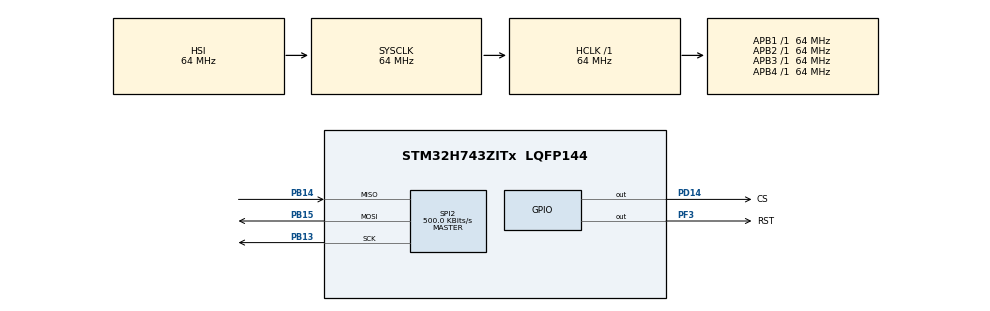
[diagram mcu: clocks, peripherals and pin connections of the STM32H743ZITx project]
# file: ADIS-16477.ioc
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Mcu.Family=STM32H7
Mcu.Name=STM32H743ZITx
Mcu.Package=LQFP144
NVIC.PriorityGroup=NVIC_PRIORITYGROUP_4
PA13\ (JTMS/SWDIO).Mode=Serial_Wire
PA13\ (JTMS/SWDIO).Signal=DEBUG_JTMS-SWDIO
PA14\ (JTCK/SWCLK).Mode=Serial_Wire
PA14\ (JTCK/SWCLK).Signal=DEBUG_JTCK-SWCLK
PB13.Mode=Full_Duplex_Master
PB13.Signal=SPI2_SCK
PB14.Mode=Full_Duplex_Master
PB14.Signal=SPI2_MISO
PB15.Mode=Full_Duplex_Master
PB15.Signal=SPI2_MOSI
PD14.GPIO_Label=CS
PD14.Signal=GPIO_Output
PF3.GPIO_Label=RST
PF3.Signal=GPIO_Output
ProjectManager.HeapSize=0x200
ProjectManager.StackSize=0x400
ProjectManager.TargetToolchain=STM32CubeIDE
RCC.ADCFreq_Value=129000000
RCC.APB1Freq_Value=64000000
RCC.APB2Freq_Value=64000000
RCC.APB3Freq_Value=64000000
RCC.APB4Freq_Value=64000000
RCC.CortexFreq_Value=64000000
RCC.HCLKFreq_Value=64000000
RCC.SPI123CLockSelection=RCC_SPI123CLKSOURCE_CLKP
RCC.SYSCLKFreq_VALUE=64000000
RCC.USBFreq_Value=129000000
SPI2.BaudRatePrescaler=SPI_BAUDRATEPRESCALER_128
SPI2.CLKPhase=SPI_PHASE_2EDGE
SPI2.CLKPolarity=SPI_POLARITY_HIGH
SPI2.CalculateBaudRate=500.0 KBits/s
SPI2.DataSize=SPI_DATASIZE_16BIT
SPI2.Direction=SPI_DIRECTION_2LINES
SPI2.Mode=SPI_MODE_MASTER
SPI2.VirtualType=VM_MASTER
board=custom

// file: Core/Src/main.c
/* USER CODE BEGIN Header */
/**
  ******************************************************************************
  * @file           : main.c
  * @brief          : Main program body
  ******************************************************************************
  * @attention
  *
  * Copyright (c) 2023 STMicroelectronics.
  * All rights reserved.
  *
  * This software is licensed under terms that can be found in the LICENSE file
  * in the root directory of this software component.
  * If no LICENSE file comes with this software, it is provided AS-IS.
  *
  ******************************************************************************
  */
/* USER CODE END Header */
#include "main.h"
#include "spi.h"
#include "gpio.h"

/* USER CODE BEGIN Includes */
#include "adis16477.h"

/* USER CODE END Includes */

void SystemClock_Config(void);
void PeriphCommonClock_Config(void);
/* USER CODE BEGIN PFP */

int8_t ADIS_read 		(uint16_t reg_addr, uint16_t *read_data, uint16_t len);
int8_t ADIS_burst_read	(uint16_t reg_addr, uint16_t *read_data, uint16_t len);
int8_t ADIS_write 		(uint16_t reg_addr, const uint16_t *read_data, uint16_t len);
void   ADIS_Delay		(uint32_t period);

/* USER CODE END PFP */

/* USER CODE BEGIN 0 */
float X_GYRO;
float Y_GYRO;
float Z_GYRO;
float X_ACCEL;
float Y_ACCEL;
float Z_ACCEL;
float ADIS_TEMP;
float start_time, end_time, execution_time, freq;
/* USER CODE END 0 */

int main(void)
{

  /* MCU Configuration--------------------------------------------------------*/

  /* Reset of all peripherals, Initializes the Flash interface and the Systick. */
  HAL_Init();

  /* Configure the system clock */
  SystemClock_Config();

/* Configure the peripherals common clocks */
  PeriphCommonClock_Config();

  /* Initialize all configured peripherals */
  MX_GPIO_Init();
  MX_SPI2_Init();
  /* USER CODE BEGIN 2 */

  // ADIS-16477
  struct ADIS ADIS_dev;

  /* Bus configuration : SPI */

  ADIS_dev.read = 		ADIS_read;
  ADIS_dev.burst_read = ADIS_burst_read;
  ADIS_dev.write = 		ADIS_write;
  ADIS_dev.delay = 		ADIS_Delay;

  // Hard reset ADIS
  // Change the values in header file according to your setup
  HAL_GPIO_WritePin(HARD_RST, HARD_RST_PIN, 0);
  HAL_Delay(1);
  HAL_GPIO_WritePin(HARD_RST, HARD_RST_PIN, 1);

  ADIS_16477_Init(&ADIS_dev);
  /* USER CODE END 2 */

  /* Infinite loop */
  /* USER CODE BEGIN WHILE */
  while (1)
  {

	  start_time = HAL_GetTick();

	  Burst_Read_16(&ADIS_dev);
	  X_GYRO = Scale_gyro (ADIS_dev.gyro_x);
	  Y_GYRO = Scale_gyro (ADIS_dev.gyro_y);
	  Z_GYRO = Scale_gyro (ADIS_dev.gyro_z);
	  X_ACCEL = Scale_accel (ADIS_dev.accel_x);
      Y_ACCEL = Scale_accel (ADIS_dev.accel_y);
      Z_ACCEL = Scale_accel (ADIS_dev.accel_z);
      ADIS_TEMP = Scale_temp (ADIS_dev.temp);

	  end_time = HAL_GetTick();
	  execution_time = end_time - start_time;
	  execution_time = execution_time / 1000;
	  freq = 1 / execution_time;

    /* USER CODE END WHILE */

  }
}

void SystemClock_Config(void)
{
  RCC_OscInitTypeDef RCC_OscInitStruct = {0};
  RCC_ClkInitTypeDef RCC_ClkInitStruct = {0};

  /** Supply configuration update enable
  */
  HAL_PWREx_ConfigSupply(PWR_LDO_SUPPLY);

  /** Configure the main internal regulator output voltage
  */
  __HAL_PWR_VOLTAGESCALING_CONFIG(PWR_REGULATOR_VOLTAGE_SCALE3);

  while(!__HAL_PWR_GET_FLAG(PWR_FLAG_VOSRDY)) {}

  /** Initializes the RCC Oscillators according to the specified parameters
  * in the RCC_OscInitTypeDef structure.
  */
  RCC_OscInitStruct.OscillatorType = RCC_OSCILLATORTYPE_HSI;
  RCC_OscInitStruct.HSIState = RCC_HSI_DIV1;
  RCC_OscInitStruct.HSICalibrationValue = RCC_HSICALIBRATION_DEFAULT;
  RCC_OscInitStruct.PLL.PLLState = RCC_PLL_NONE;
  if (HAL_RCC_OscConfig(&RCC_OscInitStruct) != HAL_OK)
  {
    Error_Handler();
  }

  /** Initializes the CPU, AHB and APB buses clocks
  */
  RCC_ClkInitStruct.ClockType = RCC_CLOCKTYPE_HCLK|RCC_CLOCKTYPE_SYSCLK
                              |RCC_CLOCKTYPE_PCLK1|RCC_CLOCKTYPE_PCLK2
                              |RCC_CLOCKTYPE_D3PCLK1|RCC_CLOCKTYPE_D1PCLK1;
  RCC_ClkInitStruct.SYSCLKSource = RCC_SYSCLKSOURCE_HSI;
  RCC_ClkInitStruct.SYSCLKDivider = RCC_SYSCLK_DIV1;
  RCC_ClkInitStruct.AHBCLKDivider = RCC_HCLK_DIV1;
  RCC_ClkInitStruct.APB3CLKDivider = RCC_APB3_DIV1;
  RCC_ClkInitStruct.APB1CLKDivider = RCC_APB1_DIV1;
  RCC_ClkInitStruct.APB2CLKDivider = RCC_APB2_DIV1;
  RCC_ClkInitStruct.APB4CLKDivider = RCC_APB4_DIV1;

  if (HAL_RCC_ClockConfig(&RCC_ClkInitStruct, FLASH_LATENCY_1) != HAL_OK)
  {
    Error_Handler();
  }
}

void PeriphCommonClock_Config(void)
{
  RCC_PeriphCLKInitTypeDef PeriphClkInitStruct = {0};

  /** Initializes the peripherals clock
  */
  PeriphClkInitStruct.PeriphClockSelection = RCC_PERIPHCLK_CKPER;
  PeriphClkInitStruct.CkperClockSelection = RCC_CLKPSOURCE_HSI;
  if (HAL_RCCEx_PeriphCLKConfig(&PeriphClkInitStruct) != HAL_OK)
  {
    Error_Handler();
  }
}

/* USER CODE BEGIN 4 */
int8_t ADIS_read (uint16_t reg_addr, uint16_t *read_data, uint16_t len){

  uint16_t txData = ((reg_addr & 0x7F) << 8);

  HAL_GPIO_WritePin(ADIS_CS, ADIS_CS_PIN, GPIO_PIN_SET);
  HAL_Delay(10);
  HAL_GPIO_WritePin(ADIS_CS, ADIS_CS_PIN, GPIO_PIN_RESET);

  if (HAL_SPI_Transmit(ADIS_SPI, (uint8_t *)&txData, 1, 1000) != HAL_OK) {
    return -9;
  }
  HAL_GPIO_WritePin(ADIS_CS, ADIS_CS_PIN, GPIO_PIN_SET);
  HAL_Delay (1);
  HAL_GPIO_WritePin(ADIS_CS, ADIS_CS_PIN, GPIO_PIN_RESET);

  if (HAL_SPI_Receive(ADIS_SPI, (uint8_t *)read_data, len, 1000) != HAL_OK) {
      return -9;
  }

  HAL_GPIO_WritePin(ADIS_CS, ADIS_CS_PIN, GPIO_PIN_SET);
  HAL_Delay (1);
  return 0;
  }

int8_t ADIS_burst_read	(uint16_t reg_addr, uint16_t *read_data, uint16_t len){

  uint16_t txData = ((reg_addr & 0x7F) << 8);

    HAL_GPIO_WritePin(ADIS_CS, ADIS_CS_PIN, GPIO_PIN_SET);
    HAL_Delay(1);
    HAL_GPIO_WritePin(ADIS_CS, ADIS_CS_PIN, GPIO_PIN_RESET);
    if (HAL_SPI_Transmit(ADIS_SPI, (uint8_t *)&txData, 1, 1000) != HAL_OK) {
        return -9;
      }
    if (HAL_SPI_Receive(ADIS_SPI, (uint8_t *) read_data, len, 1000) != HAL_OK) {
          return -9;
      }

      HAL_GPIO_WritePin(ADIS_CS, ADIS_CS_PIN, GPIO_PIN_SET);
      HAL_Delay(1);
      return 0;

}

int8_t ADIS_write (uint16_t reg_addr, const uint16_t *read_data, uint16_t len){

  uint16_t txData = (((reg_addr & 0x7F) | 0x80) << 8);
  uint16_t CMD = *read_data;
  uint16_t lowbyte = (txData | (CMD & 0xFF));
  uint16_t highbyte = ((txData | 0x100) | ((CMD >> 8) & 0xFF));
  HAL_GPIO_WritePin(ADIS_CS, ADIS_CS_PIN, GPIO_PIN_SET);
  HAL_Delay(1);
  HAL_GPIO_WritePin(ADIS_CS, ADIS_CS_PIN, GPIO_PIN_RESET);

   if (HAL_SPI_Transmit(ADIS_SPI, (uint8_t *) &lowbyte, 1, 1000) != HAL_OK) {
     return -9;
   }
  HAL_GPIO_WritePin(ADIS_CS, ADIS_CS_PIN, GPIO_PIN_SET);
  HAL_Delay (1);
  HAL_GPIO_WritePin(ADIS_CS, ADIS_CS_PIN, GPIO_PIN_RESET);

   if (HAL_SPI_Transmit(ADIS_SPI, (uint8_t *) &highbyte, 1, 1000) != HAL_OK) {
      return -9;
     }
  HAL_GPIO_WritePin(ADIS_CS, ADIS_CS_PIN, GPIO_PIN_SET);
  HAL_Delay (1);
return 0;
}
void ADIS_Delay(uint32_t period){
HAL_Delay(period);
}
/* USER CODE END 4 */

void Error_Handler(void)
{
  __disable_irq();
  while (1)
  {
  }
}
